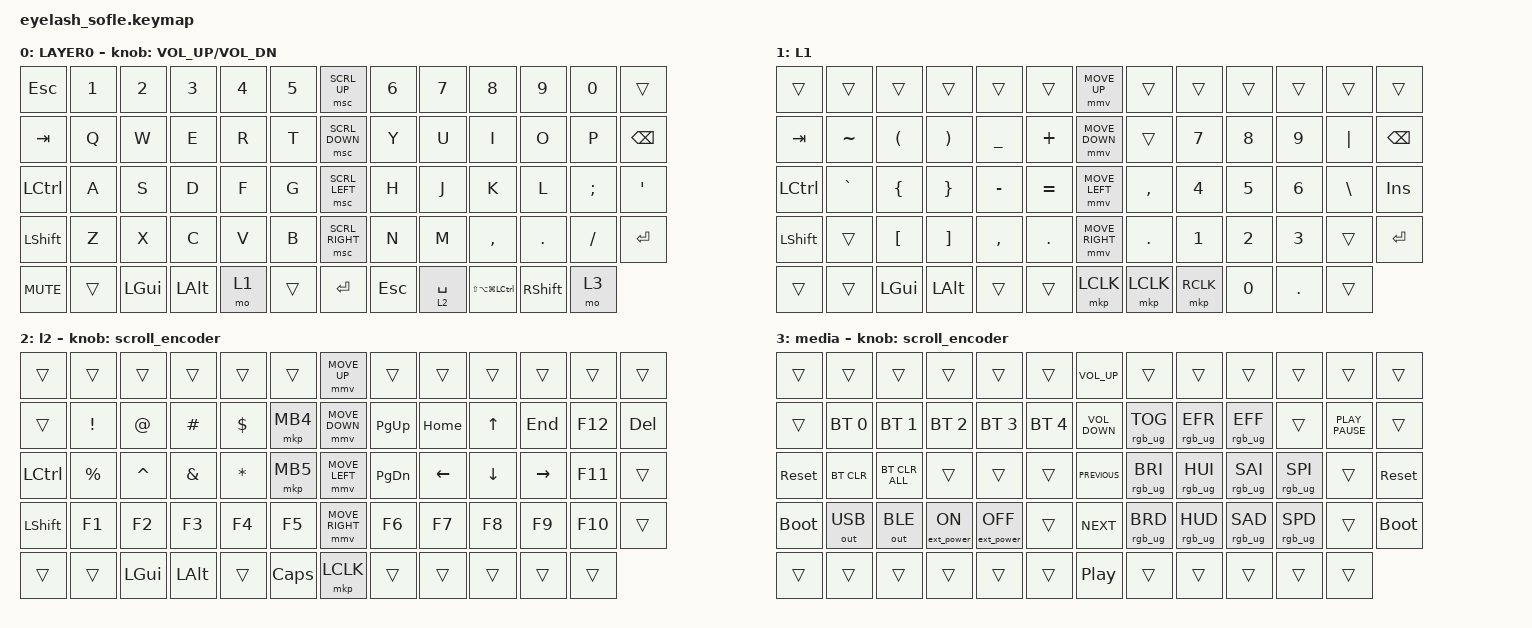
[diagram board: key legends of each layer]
#define ZMK_POINTING_DEFAULT_MOVE_VAL 1200  // 600
#define ZMK_POINTING_DEFAULT_SCRL_VAL 25   // 10

#include <input/processors.dtsi>
#include <zephyr/dt-bindings/input/input-event-codes.h>
#include <behaviors.dtsi>
#include <dt-bindings/zmk/bt.h>
#include <dt-bindings/zmk/ext_power.h>
#include <dt-bindings/zmk/keys.h>
#include <dt-bindings/zmk/outputs.h>
#include <dt-bindings/zmk/pointing.h>
#include <dt-bindings/zmk/rgb.h>

&mmv_input_listener { input-processors = <&zip_xy_scaler 2 1>; };

&msc_input_listener { input-processors = <&zip_scroll_scaler 2 1>; };

&msc {
    acceleration-exponent = <1>;      // 0
    time-to-max-speed-ms = <100>;       // 300
    delay-ms = <0>;                   // 0
};

&mmv {
    time-to-max-speed-ms = <500>;
    acceleration-exponent = <1>;
    trigger-period-ms = <16>;
};

&lt { tapping-term-ms = <150>; };

/ {
    scroll_encoder: scroll_encoder {
        compatible = "zmk,behavior-sensor-rotate";
        #sensor-binding-cells = <0>;
        bindings = <&msc SCRL_DOWN>, <&msc SCRL_UP>;

        tap-ms = <100>;
    };

    behaviors {
    };

    combos {
        compatible = "zmk,combos";

        l3combo {
            bindings = <&mo 3>;
            key-positions = <56 60>;
        };
    };

    keymap {
        compatible = "zmk,keymap";

        Base {
            bindings = <
&kp ESCAPE  &kp N1  &kp N2        &kp N3        &kp N4  &kp N5    &msc SCRL_UP     &kp N6   &kp N7       &kp N8                        &kp N9           &kp N0    &trans
&kp TAB     &kp Q   &kp W         &kp E         &kp R   &kp T     &msc SCRL_DOWN   &kp Y    &kp U        &kp I                         &kp O            &kp P     &kp BACKSPACE
&kp LCTRL   &kp A   &kp S         &kp D         &kp F   &kp G     &msc SCRL_LEFT   &kp H    &kp J        &kp K                         &kp L            &kp SEMI  &kp APOS
&kp LSHFT   &kp Z   &kp X         &kp C         &kp V   &kp B     &msc SCRL_RIGHT  &kp N    &kp M        &kp COMMA                     &kp DOT          &kp FSLH  &kp ENTER
&kp C_MUTE  &trans  &kp LEFT_GUI  &kp LEFT_ALT  &mo 1   &trans    &kp ENTER        &kp ESC  &lt 2 SPACE  &kp LS(LA(LG(LEFT_CONTROL)))  &kp RIGHT_SHIFT  &mo 3
            >;

            sensor-bindings = <&inc_dec_kp C_VOLUME_UP C_VOL_DN>;
            display-name = "LAYER0";
        };

        L1 {
            bindings = <
&trans            &trans     &trans                &trans                 &trans          &trans        &mmv MOVE_UP     &trans     &trans        &trans        &trans        &trans         &trans
&kp TAB           &kp TILDE  &kp LEFT_PARENTHESIS  &kp RIGHT_PARENTHESIS  &kp UNDERSCORE  &kp PLUS      &mmv MOVE_DOWN   &trans     &kp NUMBER_7  &kp NUMBER_8  &kp NUMBER_9  &kp PIPE       &kp BACKSPACE
&kp LEFT_CONTROL  &kp GRAVE  &kp LEFT_BRACE        &kp RIGHT_BRACE        &kp MINUS       &kp EQUAL     &mmv MOVE_LEFT   &kp COMMA  &kp NUMBER_4  &kp NUMBER_5  &kp NUMBER_6  &kp BACKSLASH  &kp INSERT
&kp LEFT_SHIFT    &trans     &kp LEFT_BRACKET      &kp RIGHT_BRACKET      &kp COMMA       &kp PERIOD    &mmv MOVE_RIGHT  &kp DOT    &kp NUMBER_1  &kp NUMBER_2  &kp NUMBER_3  &trans         &kp ENTER
&trans            &trans     &kp LEFT_GUI          &kp LEFT_ALT           &trans          &trans        &mkp LCLK        &mkp LCLK  &mkp RCLK     &kp NUMBER_0  &kp PERIOD    &trans
            >;
        };

        navigation {
            bindings = <
&trans            &trans           &trans        &trans         &trans        &trans      &mmv MOVE_UP     &trans     &trans    &trans    &trans     &trans   &trans
&trans            &kp EXCLAMATION  &kp AT_SIGN   &kp HASH       &kp DOLLAR    &mkp MB4    &mmv MOVE_DOWN   &kp PG_UP  &kp HOME  &kp UP    &kp END    &kp F12  &kp DEL
&kp LEFT_CONTROL  &kp PERCENT      &kp CARET     &kp AMPERSAND  &kp ASTERISK  &mkp MB5    &mmv MOVE_LEFT   &kp PG_DN  &kp LEFT  &kp DOWN  &kp RIGHT  &kp F11  &trans
&kp LEFT_SHIFT    &kp F1           &kp F2        &kp F3         &kp F4        &kp F5      &mmv MOVE_RIGHT  &kp F6     &kp F7    &kp F8    &kp F9     &kp F10  &trans
&trans            &trans           &kp LEFT_GUI  &kp LEFT_ALT   &trans        &kp CAPS    &mkp LCLK        &trans     &trans    &trans    &trans     &trans
            >;

            display-name = "l2";
            sensor-bindings = <&scroll_encoder>;
        };

        media {
            bindings = <
&trans       &trans        &trans          &trans            &trans             &trans          &kp C_VOLUME_UP    &trans           &trans           &trans           &trans           &trans            &trans
&trans       &bt BT_SEL 0  &bt BT_SEL 1    &bt BT_SEL 2      &bt BT_SEL 3       &bt BT_SEL 4    &kp C_VOLUME_DOWN  &rgb_ug RGB_TOG  &rgb_ug RGB_EFR  &rgb_ug RGB_EFF  &trans           &kp K_PLAY_PAUSE  &trans
&sys_reset   &bt BT_CLR    &bt BT_CLR_ALL  &trans            &trans             &trans          &kp C_PREVIOUS     &rgb_ug RGB_BRI  &rgb_ug RGB_HUI  &rgb_ug RGB_SAI  &rgb_ug RGB_SPI  &trans            &sys_reset
&bootloader  &out OUT_USB  &out OUT_BLE    &ext_power EP_ON  &ext_power EP_OFF  &trans          &kp C_NEXT         &rgb_ug RGB_BRD  &rgb_ug RGB_HUD  &rgb_ug RGB_SAD  &rgb_ug RGB_SPD  &trans            &bootloader
&trans       &trans        &trans          &trans            &trans             &trans          &kp C_PLAY_PAUSE   &trans           &trans           &trans           &trans           &trans
            >;

            sensor-bindings = <&scroll_encoder>;
        };
    };
};
